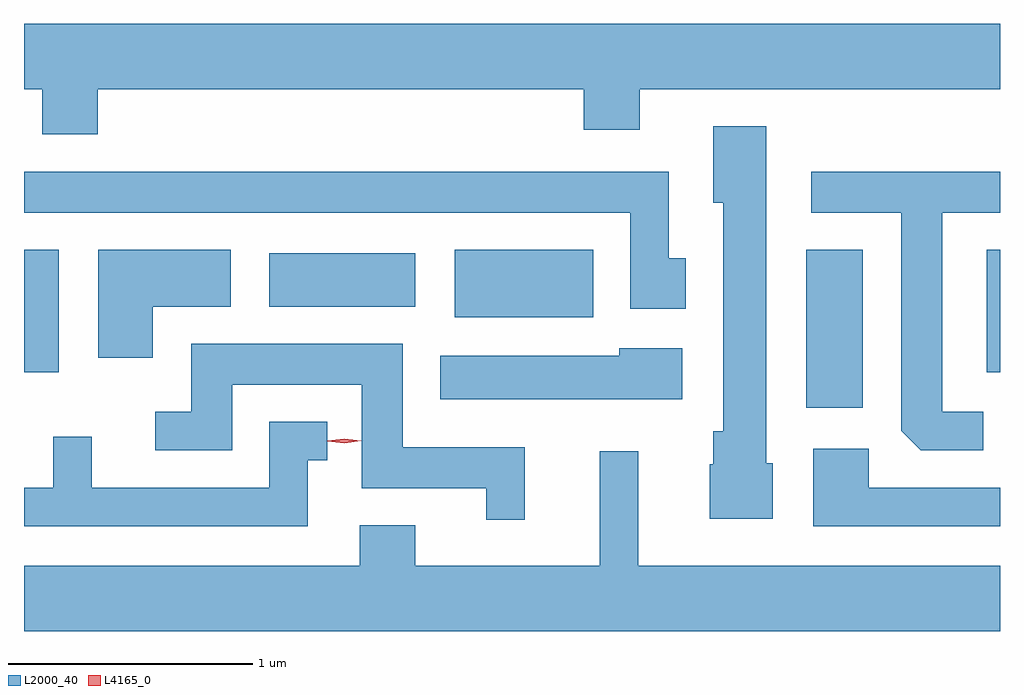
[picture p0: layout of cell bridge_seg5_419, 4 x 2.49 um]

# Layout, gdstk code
import gdstk
lib = gdstk.Library(unit=1e-6, precision=1e-09)
def R(c, l, rs):  # rectangles x0, y0, x1, y1
    for r in rs: c.add(gdstk.rectangle(r[:2], r[2:], *l))
def P(c, l, *ps):  # polygons
    for p in ps: c.add(gdstk.Polygon(p, *l))
L2000_40 = (2000, 40)
L4165_0 = (4165, 0)

bridge_seg5_419 = lib.new_cell('bridge_seg5_419')
R(bridge_seg5_419, L2000_40, [(379.201,1506.551,379.434,1507.199), (375.996,1506.696,376.139,1507.199), (379.941,1506.696,379.996,1507.199), (377.761,1506.921,378.329,1507.199), (377.001,1506.966,377.599,1507.184)])
P(bridge_seg5_419, L2000_40, [(376.299,1507.856),(378.291,1507.856),(378.291,1507.691),(378.519,1507.691),(378.519,1507.856),(379.996,1507.856),(379.996,1508.124),(375.996,1508.124),(375.996,1507.856),(376.071,1507.856),(376.071,1507.671),(376.299,1507.671)],
  [(379.064,1506.324),(379.039,1506.324),(379.039,1507.704),(378.821,1507.704),(378.821,1507.391),(378.861,1507.391),(378.861,1506.454),(378.821,1506.454),(378.821,1506.32),(378.806,1506.32),(378.806,1506.096),(379.064,1506.096)],
  [(378.709,1507.164),(378.639,1507.164),(378.639,1507.519),(375.996,1507.519),(375.996,1507.351),(378.481,1507.351),(378.481,1506.956),(378.709,1506.956)],
  [(379.928,1506.534),(379.759,1506.534),(379.759,1507.351),(379.996,1507.351),(379.996,1507.519),(379.223,1507.519),(379.223,1507.351),(379.591,1507.351),(379.591,1506.457),(379.672,1506.376),(379.928,1506.376)],
  [(376.524,1506.966),(376.844,1506.966),(376.844,1507.199),(376.301,1507.199),(376.301,1506.756),(376.524,1506.756)],
  [(378.049,1506.389),(377.549,1506.389),(377.549,1506.814),(376.681,1506.814),(376.681,1506.534),(376.533,1506.534),(376.533,1506.376),(376.849,1506.376),(376.849,1506.646),(377.381,1506.646),(377.381,1506.221),(377.891,1506.221),(377.891,1506.093),(378.049,1506.093)],
  [(378.694,1506.794),(378.436,1506.794),(378.436,1506.764),(377.701,1506.764),(377.701,1506.586),(378.694,1506.586)],
  [(377.159,1506.336),(377.238,1506.336),(377.238,1506.494),(377.001,1506.494),(377.001,1506.224),(376.274,1506.224),(376.274,1506.433),(376.116,1506.433),(376.116,1506.224),(375.996,1506.224),(375.996,1506.066),(377.159,1506.066)],
  [(379.996,1506.224),(379.459,1506.224),(379.459,1506.384),(379.231,1506.384),(379.231,1506.066),(379.996,1506.066)],
  [(379.996,1505.904),(378.514,1505.904),(378.514,1506.373),(378.356,1506.373),(378.356,1505.904),(377.599,1505.904),(377.599,1506.069),(377.371,1506.069),(377.371,1505.904),(375.996,1505.904),(375.996,1505.636),(379.996,1505.636)])
P(bridge_seg5_419, L4165_0, [(377.308,1506.406),(377.239,1506.414),(377.239,1506.415),(377.239,1506.416),(377.308,1506.425),(377.378,1506.416),(377.378,1506.416),(377.378,1506.415)])

lib.write_gds('bridge_seg5_419.gds')
